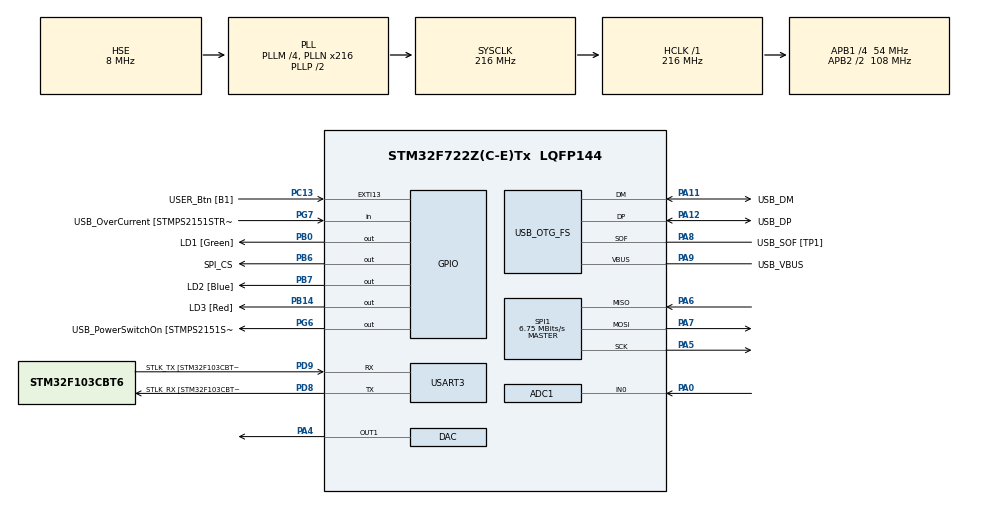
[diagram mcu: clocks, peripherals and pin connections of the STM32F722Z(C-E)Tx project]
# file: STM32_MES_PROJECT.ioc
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ADC1.Channel-0\#ChannelRegularConversion=ADC_CHANNEL_0
ADC1.NbrOfConversionFlag=1
ADC1.Rank-0\#ChannelRegularConversion=1
ADC1.SamplingTime-0\#ChannelRegularConversion=ADC_SAMPLETIME_3CYCLES
ADC1.master=1
Mcu.Family=STM32F7
Mcu.Name=STM32F722Z(C-E)Tx
Mcu.Package=LQFP144
NVIC.PriorityGroup=NVIC_PRIORITYGROUP_4
NVIC.TIM1_BRK_TIM9_IRQn=true\:0\:0\:false\:false\:true\:true\:true\:true
NVIC.TIM1_TRG_COM_TIM11_IRQn=true\:0\:0\:false\:false\:true\:true\:true\:true
NVIC.TIM8_UP_TIM13_IRQn=true\:0\:0\:false\:false\:true\:true\:true\:true
NVIC.USART3_IRQn=true\:0\:0\:false\:false\:true\:true\:true\:true
PA0-WKUP.Signal=ADCx_IN0
PA10.GPIO_Label=USB_ID
PA10.Signal=USB_OTG_FS_ID
PA11.GPIO_Label=USB_DM
PA11.Mode=Device_Only
PA11.Signal=USB_OTG_FS_DM
PA12.GPIO_Label=USB_DP
PA12.Mode=Device_Only
PA12.Signal=USB_OTG_FS_DP
PA13.GPIO_Label=TMS
PA13.Mode=Serial_Wire
PA13.Signal=SYS_JTMS-SWDIO
PA14.GPIO_Label=TCK
PA14.Mode=Serial_Wire
PA14.Signal=SYS_JTCK-SWCLK
PA4.Signal=COMP_DAC1_group
PA5.Mode=Full_Duplex_Master
PA5.Signal=SPI1_SCK
PA6.Mode=Full_Duplex_Master
PA6.Signal=SPI1_MISO
PA7.Mode=Full_Duplex_Master
PA7.Signal=SPI1_MOSI
PA8.GPIO_Label=USB_SOF [TP1]
PA8.Mode=Activate_SOF_FS
PA8.Signal=USB_OTG_FS_SOF
PA9.GPIO_Label=USB_VBUS
PA9.Mode=Activate_VBUS
PA9.Signal=USB_OTG_FS_VBUS
PB0.GPIO_Label=LD1 [Green]
PB0.Signal=GPIO_Output
PB14.GPIO_Label=LD3 [Red]
PB14.Signal=GPIO_Output
PB3.GPIO_Label=SWO
PB3.Signal=SYS_JTDO-SWO
PB6.GPIO_Label=SPI_CS
PB6.Signal=GPIO_Output
PB7.GPIO_Label=LD2 [Blue]
PB7.Signal=GPIO_Output
PC13.GPIO_Label=USER_Btn [B1]
PC13.Signal=GPXTI13
PC14-OSC32_IN.Mode=LSE-External-Oscillator
PC14-OSC32_IN.Signal=RCC_OSC32_IN
PC15-OSC32_OUT.Mode=LSE-External-Oscillator
PC15-OSC32_OUT.Signal=RCC_OSC32_OUT
PD8.GPIO_Label=STLK_RX [STM32F103CBT6_PA3]
PD8.Mode=Asynchronous
PD8.Signal=USART3_TX
PD9.GPIO_Label=STLK_TX [STM32F103CBT6_PA2]
PD9.Mode=Asynchronous
PD9.Signal=USART3_RX
PG6.GPIO_Label=USB_PowerSwitchOn [STMPS2151STR_EN]
PG6.Signal=GPIO_Output
PG7.GPIO_Label=USB_OverCurrent [STMPS2151STR_FAULT]
PG7.Signal=GPIO_Input
PH0-OSC_IN.GPIO_Label=MCO
PH0-OSC_IN.Mode=HSE-External-Clock-Source
PH0-OSC_IN.Signal=RCC_OSC_IN
PH1-OSC_OUT.Mode=HSE-External-Clock-Source
PH1-OSC_OUT.Signal=RCC_OSC_OUT
ProjectManager.HeapSize=0x200
ProjectManager.StackSize=0x400
ProjectManager.TargetToolchain=STM32CubeIDE
RCC.48MHZClocksFreq_Value=24000000
RCC.AHBFreq_Value=216000000
RCC.APB1CLKDivider=RCC_HCLK_DIV4
RCC.APB1Freq_Value=54000000
RCC.APB1TimFreq_Value=108000000
RCC.APB2CLKDivider=RCC_HCLK_DIV2
RCC.APB2Freq_Value=108000000
RCC.APB2TimFreq_Value=216000000
RCC.CortexFreq_Value=216000000
RCC.HCLKFreq_Value=216000000
RCC.HSE_VALUE=8000000
RCC.HSI_VALUE=16000000
RCC.PLLM=4
RCC.PLLMUL=RCC_PLL_MUL9
RCC.PLLN=216
RCC.PLLQ=9
RCC.PRESCALERUSB=RCC_USBCLKSOURCE_PLL_DIV1_5
RCC.SYSCLKFreq_VALUE=216000000
RCC.SYSCLKSource=RCC_SYSCLKSOURCE_PLLCLK
RCC.SYSCLKSourceVirtual=RCC_SYSCLKSOURCE_PLLCLK
RCC.USBFreq_Value=48000000
RCC.VCOOutputFreq_Value=432000000
SH.ADCx_IN0.0=ADC1_IN0,IN0
SH.COMP_DAC1_group.0=DAC_OUT1,DAC_OUT1
SPI1.BaudRatePrescaler=SPI_BAUDRATEPRESCALER_16
SPI1.CLKPhase=SPI_PHASE_1EDGE
SPI1.CalculateBaudRate=6.75 MBits/s
SPI1.DataSize=SPI_DATASIZE_16BIT
SPI1.Direction=SPI_DIRECTION_2LINES
SPI1.Mode=SPI_MODE_MASTER
SPI1.VirtualType=VM_MASTER
TIM11.Period=2000-1
TIM11.Prescaler=108-1
TIM13.Period=5000-1
TIM13.Prescaler=108-1
TIM9.Period=2160-1
TIM9.Prescaler=1-1
USART3.VirtualMode-Asynchronous=VM_ASYNC
USB_OTG_FS.VirtualMode=Device_Only
VP_TIM11_VS_ClockSourceINT.Mode=Enable_Timer
VP_TIM13_VS_ClockSourceINT.Mode=Enable_Timer
VP_TIM9_VS_ClockSourceINT.Mode=Internal
board=NUCLEO-F722ZE

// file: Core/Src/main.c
/* USER CODE BEGIN Header */
/**
  ******************************************************************************
  * @file           : main.c
  * @brief          : Main program body
  ******************************************************************************
  * @attention
  *
  * Copyright (c) 2023 STMicroelectronics.
  * All rights reserved.
  *
  * This software is licensed under terms that can be found in the LICENSE file
  * in the root directory of this software component.
  * If no LICENSE file comes with this software, it is provided AS-IS.
  *
  ******************************************************************************
  */
/* USER CODE END Header */
#include "main.h"

/* USER CODE BEGIN Includes */
#include "console.h"  //for the cmd line interface
#include <math.h>
#include <string.h>
/* USER CODE END Includes */

/* USER CODE BEGIN PM */
#define PI 3.14159
/* USER CODE END PM */

ADC_HandleTypeDef hadc1;

DAC_HandleTypeDef hdac;

SPI_HandleTypeDef hspi1;

TIM_HandleTypeDef htim9;
TIM_HandleTypeDef htim11;
TIM_HandleTypeDef htim13;

UART_HandleTypeDef huart3;

PCD_HandleTypeDef hpcd_USB_OTG_FS;

/* USER CODE BEGIN PV */
uint8_t BlinkSpeed = 0;
uint8_t Dispaly_ADC =0;
uint8_t msg[20];
uint8_t debounceRequest =0;
uint8_t debounceCount = 0;
uint8_t rx_buffer[10];
uint16_t Value_DAC =0;
uint16_t Value_DAC_SPI =0;
uint32_t phase = 0;
uint16_t spi_data;
uint32_t lut[1024];
uint32_t Value_ARR =1999;
Waveform_T Wave = 0;
Sates_T Current_state=0;
uint8_t Input_Updated = 0;
int16_t Frequency = 1000;
float Amplitude = 4;
Events_T event= 0;
uint32_t Delta_Phase =1;
uint32_t fs= 100000; //Sampling frequency

uint16_t lut1[256]={2048,2098,2149,2199,2249,2300,2350,2399,2449,2498,2547,2596,2644,2693,2740,2787,2834,2881,2926,2972,3016,3061,3104,3147,3189,3231,3272,3312,3351,3389,3427,3464,3500,3535,3569,
		3603,3635,3666,3697,3726,3754,3782,3808,3833,3857,3880,3902,3923,3943,3961,3979,3995,4010,4024,4036,4048,4058,4067,4074,4081,4086,4090,4093,4095,4095,4094,4092,4088,4084,4078,4071,4062,4053,
		4042,4030,4017,4002,3987,3970,3952,3933,3913,3892,3869,3845,3821,3795,3768,3740,3711,3682,3651,3619,3586,3552,3518,3482,3446,3408,3370,3331,3292,3251,3210,3168,3126,3082,3039,2994,2949,2904,
		2857,2811,2764,2716,2669,2620,2572,2523,2474,2424,2374,2325,2275,2224,2174,2124,2073,2023,1972,1922,1872,1821,1771,1722,1672,1622,1573,1524,1476,1427,1380,1332,1285,1239,1192,1147,1102,1057,
		1014,970,928,886,845,804,765,726,688,650,614,578,544,510,477,445,414,385,356,328,301,275,251,227,204,183,163,144,126,109,94,79,66,54,43,34,25,18,12,8,4,2,1,1,3,6,10,15,22,29,38,48,60,72,86,
		101,117,135,153,173,194,216,239,263,288,314,342,370,399,430,461,493,527,561,596,632,669,707,745,784,824,865,907,949,992,1035,1080,1124,1170,1215,1262,1309,1356,1403,1452,1500,1549,1598,1647,1697,1746,1796,1847,1897,1947,1998,2048,};

/* USER CODE END PV */

void SystemClock_Config(void);
static void MX_GPIO_Init(void);
static void MX_USART3_UART_Init(void);
static void MX_USB_OTG_FS_PCD_Init(void);
static void MX_TIM13_Init(void);
static void MX_DAC_Init(void);
static void MX_TIM11_Init(void);
static void MX_SPI1_Init(void);
static void MX_TIM9_Init(void);
static void MX_ADC1_Init(void);
/* USER CODE BEGIN PFP */
void SPI_Transmit (uint16_t *data, int size);
void SPI_Enable (void);
void Change_Wave(void);
void State_Machine(void);
/* USER CODE END PFP */

int main(void)
{

  /* MCU Configuration--------------------------------------------------------*/

  /* Reset of all peripherals, Initializes the Flash interface and the Systick. */
  HAL_Init();

  /* Configure the system clock */
  SystemClock_Config();

  /* Initialize all configured peripherals */
  MX_GPIO_Init();
  MX_USART3_UART_Init();
  MX_USB_OTG_FS_PCD_Init();
  MX_TIM13_Init();
  MX_DAC_Init();
  MX_TIM11_Init();
  MX_SPI1_Init();
  MX_TIM9_Init();
  MX_ADC1_Init();
  /* USER CODE BEGIN 2 */

  Delta_Phase = pow(2, 32) * ((uint32_t)1000) / 100000;
  for (uint16_t jk=0; jk< 1024; jk++)
  {
     lut[jk]= (2048.0+(2047.0-150.0)*((float)Amplitude/5.0)*sin(2*PI*jk/1024));
  }

  // Start timer
  SPI_Enable();
  HAL_GPIO_WritePin(GPIOB, GPIO_PIN_6, GPIO_PIN_RESET);
  HAL_TIM_Base_Start_IT(&htim13);
  //HAL_TIM_Base_Start_IT(&htim11);
  HAL_TIM_Base_Start_IT(&htim9);
  HAL_DAC_Start(&hdac, DAC_CHANNEL_1);

  /* USER CODE END 2 */

  /* Infinite loop */
  /* USER CODE BEGIN WHILE */
  ConsoleInit();
  while (1)
  {
	  ConsoleProcess();

      // Input state variables - Mode,frequency,amplitude
	  //Output state variable - delta phase, LUT, and amplitude(inturn update LUT)
	  if (event != NO_EVENT)
	  {
		  State_Machine();
	  }
	  if(Dispaly_ADC == 1)
	  {
		    Dispaly_ADC = 0;
			uint16_t raw =0;
			float voltage = 0;
			// Start ADC Conversion
			HAL_ADC_Start(&hadc1);
			// Poll ADC1 Perihperal & TimeOut = 1mSec
			HAL_ADC_PollForConversion(&hadc1, 100);
			// Read The ADC Conversion Result & Map It To PWM DutyCycle
			raw = HAL_ADC_GetValue(&hadc1);
			voltage = (float)raw * 3.3/4095.0;
			ConsoleIoSendString("ADC Voltage is ");
			ConsoleSendParamInt16((int16_t)round(voltage*1000));
			ConsoleIoSendString("mV");
			ConsoleIoSendString(STR_ENDLINE);

	  }

	  if(BlinkSpeed == 0)
	  {
		  HAL_GPIO_WritePin(GPIOB, GPIO_PIN_0, 1);
		  HAL_GPIO_WritePin(GPIOB, GPIO_PIN_7, 0);

	  }
	  else if(BlinkSpeed == 1)
	  {
		  HAL_GPIO_WritePin(GPIOB, GPIO_PIN_0, 0);
		  HAL_GPIO_WritePin(GPIOB, GPIO_PIN_7, 1);

	  }
	  else if(BlinkSpeed == 2)
	  {
		  HAL_GPIO_WritePin(GPIOB, GPIO_PIN_0, 0);
		  HAL_GPIO_WritePin(GPIOB, GPIO_PIN_7, 0);
	  }
	  HAL_Delay(50);
    /* USER CODE END WHILE */

  }
}

void SystemClock_Config(void)
{
  RCC_OscInitTypeDef RCC_OscInitStruct = {0};
  RCC_ClkInitTypeDef RCC_ClkInitStruct = {0};

  /** Configure LSE Drive Capability
  */
  HAL_PWR_EnableBkUpAccess();

  /** Configure the main internal regulator output voltage
  */
  __HAL_RCC_PWR_CLK_ENABLE();
  __HAL_PWR_VOLTAGESCALING_CONFIG(PWR_REGULATOR_VOLTAGE_SCALE1);

  /** Initializes the RCC Oscillators according to the specified parameters
  * in the RCC_OscInitTypeDef structure.
  */
  RCC_OscInitStruct.OscillatorType = RCC_OSCILLATORTYPE_HSE;
  RCC_OscInitStruct.HSEState = RCC_HSE_BYPASS;
  RCC_OscInitStruct.PLL.PLLState = RCC_PLL_ON;
  RCC_OscInitStruct.PLL.PLLSource = RCC_PLLSOURCE_HSE;
  RCC_OscInitStruct.PLL.PLLM = 4;
  RCC_OscInitStruct.PLL.PLLN = 216;
  RCC_OscInitStruct.PLL.PLLP = RCC_PLLP_DIV2;
  RCC_OscInitStruct.PLL.PLLQ = 9;
  if (HAL_RCC_OscConfig(&RCC_OscInitStruct) != HAL_OK)
  {
    Error_Handler();
  }

  /** Activate the Over-Drive mode
  */
  if (HAL_PWREx_EnableOverDrive() != HAL_OK)
  {
    Error_Handler();
  }

  /** Initializes the CPU, AHB and APB buses clocks
  */
  RCC_ClkInitStruct.ClockType = RCC_CLOCKTYPE_HCLK|RCC_CLOCKTYPE_SYSCLK
                              |RCC_CLOCKTYPE_PCLK1|RCC_CLOCKTYPE_PCLK2;
  RCC_ClkInitStruct.SYSCLKSource = RCC_SYSCLKSOURCE_PLLCLK;
  RCC_ClkInitStruct.AHBCLKDivider = RCC_SYSCLK_DIV1;
  RCC_ClkInitStruct.APB1CLKDivider = RCC_HCLK_DIV4;
  RCC_ClkInitStruct.APB2CLKDivider = RCC_HCLK_DIV2;

  if (HAL_RCC_ClockConfig(&RCC_ClkInitStruct, FLASH_LATENCY_7) != HAL_OK)
  {
    Error_Handler();
  }
}

static void MX_ADC1_Init(void)
{

  ADC_ChannelConfTypeDef sConfig = {0};

  /** Configure the global features of the ADC (Clock, Resolution, Data Alignment and number of conversion)
  */
  hadc1.Instance = ADC1;
  hadc1.Init.ClockPrescaler = ADC_CLOCK_SYNC_PCLK_DIV4;
  hadc1.Init.Resolution = ADC_RESOLUTION_12B;
  hadc1.Init.ScanConvMode = ADC_SCAN_DISABLE;
  hadc1.Init.ContinuousConvMode = DISABLE;
  hadc1.Init.DiscontinuousConvMode = DISABLE;
  hadc1.Init.ExternalTrigConvEdge = ADC_EXTERNALTRIGCONVEDGE_NONE;
  hadc1.Init.ExternalTrigConv = ADC_SOFTWARE_START;
  hadc1.Init.DataAlign = ADC_DATAALIGN_RIGHT;
  hadc1.Init.NbrOfConversion = 1;
  hadc1.Init.DMAContinuousRequests = DISABLE;
  hadc1.Init.EOCSelection = ADC_EOC_SINGLE_CONV;
  if (HAL_ADC_Init(&hadc1) != HAL_OK)
  {
    Error_Handler();
  }

  /** Configure for the selected ADC regular channel its corresponding rank in the sequencer and its sample time.
  */
  sConfig.Channel = ADC_CHANNEL_0;
  sConfig.Rank = ADC_REGULAR_RANK_1;
  sConfig.SamplingTime = ADC_SAMPLETIME_3CYCLES;
  if (HAL_ADC_ConfigChannel(&hadc1, &sConfig) != HAL_OK)
  {
    Error_Handler();
  }

}

static void MX_DAC_Init(void)
{

  DAC_ChannelConfTypeDef sConfig = {0};

  /** DAC Initialization
  */
  hdac.Instance = DAC;
  if (HAL_DAC_Init(&hdac) != HAL_OK)
  {
    Error_Handler();
  }

  /** DAC channel OUT1 config
  */
  sConfig.DAC_Trigger = DAC_TRIGGER_NONE;
  sConfig.DAC_OutputBuffer = DAC_OUTPUTBUFFER_ENABLE;
  if (HAL_DAC_ConfigChannel(&hdac, &sConfig, DAC_CHANNEL_1) != HAL_OK)
  {
    Error_Handler();
  }

}

static void MX_SPI1_Init(void)
{

  /* SPI1 parameter configuration*/
  hspi1.Instance = SPI1;
  hspi1.Init.Mode = SPI_MODE_MASTER;
  hspi1.Init.Direction = SPI_DIRECTION_2LINES;
  hspi1.Init.DataSize = SPI_DATASIZE_16BIT;
  hspi1.Init.CLKPolarity = SPI_POLARITY_LOW;
  hspi1.Init.CLKPhase = SPI_PHASE_1EDGE;
  hspi1.Init.NSS = SPI_NSS_SOFT;
  hspi1.Init.BaudRatePrescaler = SPI_BAUDRATEPRESCALER_16;
  hspi1.Init.FirstBit = SPI_FIRSTBIT_MSB;
  hspi1.Init.TIMode = SPI_TIMODE_DISABLE;
  hspi1.Init.CRCCalculation = SPI_CRCCALCULATION_DISABLE;
  hspi1.Init.CRCPolynomial = 7;
  hspi1.Init.CRCLength = SPI_CRC_LENGTH_DATASIZE;
  hspi1.Init.NSSPMode = SPI_NSS_PULSE_ENABLE;
  if (HAL_SPI_Init(&hspi1) != HAL_OK)
  {
    Error_Handler();
  }

}

static void MX_TIM9_Init(void)
{

  TIM_ClockConfigTypeDef sClockSourceConfig = {0};

  htim9.Instance = TIM9;
  htim9.Init.Prescaler = 1-1;
  htim9.Init.CounterMode = TIM_COUNTERMODE_UP;
  htim9.Init.Period = 2160-1;
  htim9.Init.ClockDivision = TIM_CLOCKDIVISION_DIV1;
  htim9.Init.AutoReloadPreload = TIM_AUTORELOAD_PRELOAD_DISABLE;
  if (HAL_TIM_Base_Init(&htim9) != HAL_OK)
  {
    Error_Handler();
  }
  sClockSourceConfig.ClockSource = TIM_CLOCKSOURCE_INTERNAL;
  if (HAL_TIM_ConfigClockSource(&htim9, &sClockSourceConfig) != HAL_OK)
  {
    Error_Handler();
  }

}

static void MX_TIM11_Init(void)
{

  htim11.Instance = TIM11;
  htim11.Init.Prescaler = 108-1;
  htim11.Init.CounterMode = TIM_COUNTERMODE_UP;
  htim11.Init.Period = 2000-1;
  htim11.Init.ClockDivision = TIM_CLOCKDIVISION_DIV1;
  htim11.Init.AutoReloadPreload = TIM_AUTORELOAD_PRELOAD_DISABLE;
  if (HAL_TIM_Base_Init(&htim11) != HAL_OK)
  {
    Error_Handler();
  }

}

static void MX_TIM13_Init(void)
{

  htim13.Instance = TIM13;
  htim13.Init.Prescaler = 108-1;
  htim13.Init.CounterMode = TIM_COUNTERMODE_UP;
  htim13.Init.Period = 5000-1;
  htim13.Init.ClockDivision = TIM_CLOCKDIVISION_DIV1;
  htim13.Init.AutoReloadPreload = TIM_AUTORELOAD_PRELOAD_DISABLE;
  if (HAL_TIM_Base_Init(&htim13) != HAL_OK)
  {
    Error_Handler();
  }

}

static void MX_USART3_UART_Init(void)
{

  huart3.Instance = USART3;
  huart3.Init.BaudRate = 115200;
  huart3.Init.WordLength = UART_WORDLENGTH_8B;
  huart3.Init.StopBits = UART_STOPBITS_1;
  huart3.Init.Parity = UART_PARITY_NONE;
  huart3.Init.Mode = UART_MODE_TX_RX;
  huart3.Init.HwFlowCtl = UART_HWCONTROL_NONE;
  huart3.Init.OverSampling = UART_OVERSAMPLING_16;
  huart3.Init.OneBitSampling = UART_ONE_BIT_SAMPLE_DISABLE;
  huart3.AdvancedInit.AdvFeatureInit = UART_ADVFEATURE_NO_INIT;
  if (HAL_UART_Init(&huart3) != HAL_OK)
  {
    Error_Handler();
  }

}

static void MX_USB_OTG_FS_PCD_Init(void)
{

  hpcd_USB_OTG_FS.Instance = USB_OTG_FS;
  hpcd_USB_OTG_FS.Init.dev_endpoints = 6;
  hpcd_USB_OTG_FS.Init.speed = PCD_SPEED_FULL;
  hpcd_USB_OTG_FS.Init.dma_enable = DISABLE;
  hpcd_USB_OTG_FS.Init.phy_itface = PCD_PHY_EMBEDDED;
  hpcd_USB_OTG_FS.Init.Sof_enable = ENABLE;
  hpcd_USB_OTG_FS.Init.low_power_enable = DISABLE;
  hpcd_USB_OTG_FS.Init.lpm_enable = DISABLE;
  hpcd_USB_OTG_FS.Init.battery_charging_enable = ENABLE;
  hpcd_USB_OTG_FS.Init.vbus_sensing_enable = ENABLE;
  hpcd_USB_OTG_FS.Init.use_dedicated_ep1 = DISABLE;
  if (HAL_PCD_Init(&hpcd_USB_OTG_FS) != HAL_OK)
  {
    Error_Handler();
  }

}

static void MX_GPIO_Init(void)
{
  GPIO_InitTypeDef GPIO_InitStruct = {0};

  /* GPIO Ports Clock Enable */
  __HAL_RCC_GPIOC_CLK_ENABLE();
  __HAL_RCC_GPIOH_CLK_ENABLE();
  __HAL_RCC_GPIOA_CLK_ENABLE();
  __HAL_RCC_GPIOB_CLK_ENABLE();
  __HAL_RCC_GPIOD_CLK_ENABLE();
  __HAL_RCC_GPIOG_CLK_ENABLE();

  /*Configure GPIO pin Output Level */
  HAL_GPIO_WritePin(GPIOB, LD1_Pin|LD3_Pin|SPI_CS_Pin|LD2_Pin, GPIO_PIN_RESET);

  /*Configure GPIO pin Output Level */
  HAL_GPIO_WritePin(USB_PowerSwitchOn_GPIO_Port, USB_PowerSwitchOn_Pin, GPIO_PIN_RESET);

  /*Configure GPIO pin : USER_Btn_Pin */
  GPIO_InitStruct.Pin = USER_Btn_Pin;
  GPIO_InitStruct.Mode = GPIO_MODE_IT_RISING;
  GPIO_InitStruct.Pull = GPIO_NOPULL;
  HAL_GPIO_Init(USER_Btn_GPIO_Port, &GPIO_InitStruct);

  /*Configure GPIO pins : LD1_Pin LD3_Pin SPI_CS_Pin LD2_Pin */
  GPIO_InitStruct.Pin = LD1_Pin|LD3_Pin|SPI_CS_Pin|LD2_Pin;
  GPIO_InitStruct.Mode = GPIO_MODE_OUTPUT_PP;
  GPIO_InitStruct.Pull = GPIO_NOPULL;
  GPIO_InitStruct.Speed = GPIO_SPEED_FREQ_LOW;
  HAL_GPIO_Init(GPIOB, &GPIO_InitStruct);

  /*Configure GPIO pin : USB_PowerSwitchOn_Pin */
  GPIO_InitStruct.Pin = USB_PowerSwitchOn_Pin;
  GPIO_InitStruct.Mode = GPIO_MODE_OUTPUT_PP;
  GPIO_InitStruct.Pull = GPIO_NOPULL;
  GPIO_InitStruct.Speed = GPIO_SPEED_FREQ_LOW;
  HAL_GPIO_Init(USB_PowerSwitchOn_GPIO_Port, &GPIO_InitStruct);

  /*Configure GPIO pin : USB_OverCurrent_Pin */
  GPIO_InitStruct.Pin = USB_OverCurrent_Pin;
  GPIO_InitStruct.Mode = GPIO_MODE_INPUT;
  GPIO_InitStruct.Pull = GPIO_NOPULL;
  HAL_GPIO_Init(USB_OverCurrent_GPIO_Port, &GPIO_InitStruct);

}

/* USER CODE BEGIN 4 */
/* Timer13(APB1 -108Mhz) interupt that fires every 5 ms to check push button press and handle debouncing*/
/* Timer11(APB2 - 216Mhz) interupt that fires every 1 ms */
void HAL_TIM_PeriodElapsedCallback(TIM_HandleTypeDef *htim)
{

	if (htim == &htim13 )/* Timer13 interupt that fires every 5 ms*/
	{
		if (!debounceRequest)
		{
			if (HAL_GPIO_ReadPin(GPIOC, GPIO_PIN_13) == 1)
			{
				//HAL_UART_Transmit(&huart3, (uint8_t*)"Button Pressed\n\r" , strlen("Button Pressed\n\r"),1000);
				Dispaly_ADC = 1;
				if(BlinkSpeed == 2)
				{
					BlinkSpeed = 0;
				}
				else
				{
					BlinkSpeed ++;

				}
				debounceRequest = 1;
			}
		}
		// Handle debounce
		else
		{
			if (HAL_GPIO_ReadPin(GPIOC, GPIO_PIN_13) == 1)
				debounceCount = 0;
			else
			{
				debounceCount ++;
				if (debounceCount == 10)
				{
					debounceCount = 0;
					debounceRequest = 0;
				}
			}
		}
	}

	if (htim == &htim11 ) /* Timer11 interupt that fires every 1 ms */
	{

	}

	if (htim == &htim9 ) /* Timer9 interupt that fires every 10 us(1000KHz) */
	{
		HAL_GPIO_WritePin(GPIOB, GPIO_PIN_6, GPIO_PIN_SET);
		phase = phase + Delta_Phase;
		Value_DAC_SPI = phase>>22;
		spi_data = 0x3000|lut[Value_DAC_SPI];
		HAL_GPIO_WritePin(GPIOB, GPIO_PIN_6, GPIO_PIN_RESET);
		SPI_Transmit((uint16_t*)&spi_data, 1);
	}

}

void SPI_Transmit (uint16_t *data, int size)
{

	/************** STEPS TO FOLLOW *****************
	1. Wait for the TXE bit to set in the Status Register
	2. Write the data to the Data Register
	3. After the data has been transmitted, wait for the BSY bit to reset in Status Register
	4. Clear the Overrun flag by reading DR and SR
	************************************************/

	int i=0;
	while (i<size)
	{
	   while (!((SPI1->SR)&(1<<1))) {};  // wait for TXE bit to set -> This will indicate that the buffer is empty
	   SPI1->DR = data[i];  // load the data into the Data Register
	   i++;
	}

/*During discontinuous communications, there is a 2 APB clock period delay between the
write operation to the SPI_DR register and BSY bit setting. As a consequence it is
mandatory to wait first until TXE is set and then until BSY is cleared after writing the last
data.
*/
	//while (!((SPI1->SR)&(1<<1))) {};  // wait for TXE bit to set -> This will indicate that the buffer is empty
	//while (((SPI1->SR)&(1<<7))) {};  // wait for BSY bit to Reset -> This will indicate that SPI is not busy in communication

	//  Clear the Overrun flag by reading DR and SR
	uint8_t temp = SPI1->DR;
	temp = SPI1->SR;
	temp++;

}

void SPI_Enable (void)
{
	SPI1->CR1 |= (1<<6);   // SPE=1, Peripheral enabled
}

void Change_Wave(void)
{
	if (Wave == SINE)
	{
		for (uint16_t jk=0; jk< 1024; jk++)
		{
			lut[jk]= (2048.0+(2047.0-150.0)*((float)Amplitude/5.0)*sin(2*PI*jk/1024));
		}
		Current_state = STATE_SINE_WAVE;

	}
	if (Wave == SAWTOOTH)
	{
		for (uint16_t jk=0; jk< 1024; jk++)
		{
			lut[jk]= (jk* 4)*(Amplitude/5.25);
		}
		Current_state = STATE_SAWTOOTH_WAVE;
	}
	if (Wave == SQUARE)
	{
		for (uint16_t jk=0; jk< 512; jk++)
		{
			lut[jk]= (2048.0+(2047.0-150.0)*((float)Amplitude/5.0)*1);
		}

		for (uint16_t jk=512; jk< 1024; jk++)
		{
			lut[jk]= (2048.0+(2047.0-150.0)*((float)Amplitude/5.0)*(-1));
		}
		Current_state = STATE_SQUARE_WAVE;

	}
	if (Wave == DC)
	{
		for (uint16_t jk=0; jk< 1024; jk++)
		{
			lut[jk]= -(2048*(((float)Amplitude-5.0)/5.0));
		}
		Current_state = STATE_DC;
	}
}

void State_Machine(void)
{

	switch(Current_state){
	case STATE_INIT:
		if (event == CHANGE_WAVE)
		{
			Change_Wave();
		}
		else if (event == CHANGE_FREQUENCY)
		{

			Delta_Phase = pow(2, 32) * ((uint32_t)Frequency) / fs;
		}
		else if (event == CHANGE_AMPLITUDE)
		{
			for (uint16_t jk=0; jk< 1024; jk++)
			{
				lut[jk]= (2048.0+(2047.0-150.0)*((float)Amplitude/5.0)*sin(2*PI*jk/1024));
			}
		}
		break;

	case STATE_SINE_WAVE:
		if (event == CHANGE_WAVE)
		{
			Change_Wave();
		}
		else if (event == CHANGE_FREQUENCY)
		{
			Delta_Phase = pow(2, 32) * ((uint32_t)Frequency) / fs;
		}
		else if (event == CHANGE_AMPLITUDE)
		{
			for (uint16_t jk=0; jk< 1024; jk++)
			{
				lut[jk]= (2048.0+(2047.0-150.0)*((float)Amplitude/5.0)*sin(2*PI*jk/1024));
			}
		}
		break;

	case STATE_SAWTOOTH_WAVE:
		if (event == CHANGE_WAVE)
		{
			Change_Wave();
		}
		else if (event == CHANGE_FREQUENCY)
		{
			Delta_Phase = pow(2, 32) * ((uint32_t)Frequency) / fs;
		}
		else if (event == CHANGE_AMPLITUDE)
		{
			for (uint16_t jk=0; jk< 1024; jk++)
			{
				lut[jk]= (jk* 4)*(Amplitude/5.25);
			}
		}
		break;
	case STATE_SQUARE_WAVE:
		if (event == CHANGE_WAVE)
		{
			Change_Wave();
		}
		else if (event == CHANGE_FREQUENCY)
		{
			Delta_Phase = pow(2, 32) * ((uint32_t)Frequency) / fs;
		}
		else if (event == CHANGE_AMPLITUDE)
		{
			for (uint16_t jk=0; jk< 512; jk++)
			{
				lut[jk]= (2048.0+(2047.0-150.0)*((float)Amplitude/5.0)*1);
			}

			for (uint16_t jk=512; jk< 1024; jk++)
			{
				lut[jk]= (2048.0+(2047.0-150.0)*((float)Amplitude/5.0)*(-1));
			}
		}
		break;
	case STATE_DC:
		if (event == CHANGE_WAVE)
		{
			Change_Wave();
		}
		else if (event == CHANGE_AMPLITUDE)
		{
			for (uint16_t jk=0; jk< 1024; jk++)
			{
				lut[jk]= -(2048*(((float)Amplitude-5.0)/5.0));
			}
		}
		break;
	}
	event = NO_EVENT;

}
/* USER CODE END 4 */

void Error_Handler(void)
{
  __disable_irq();
  while (1)
  {
  }
}
